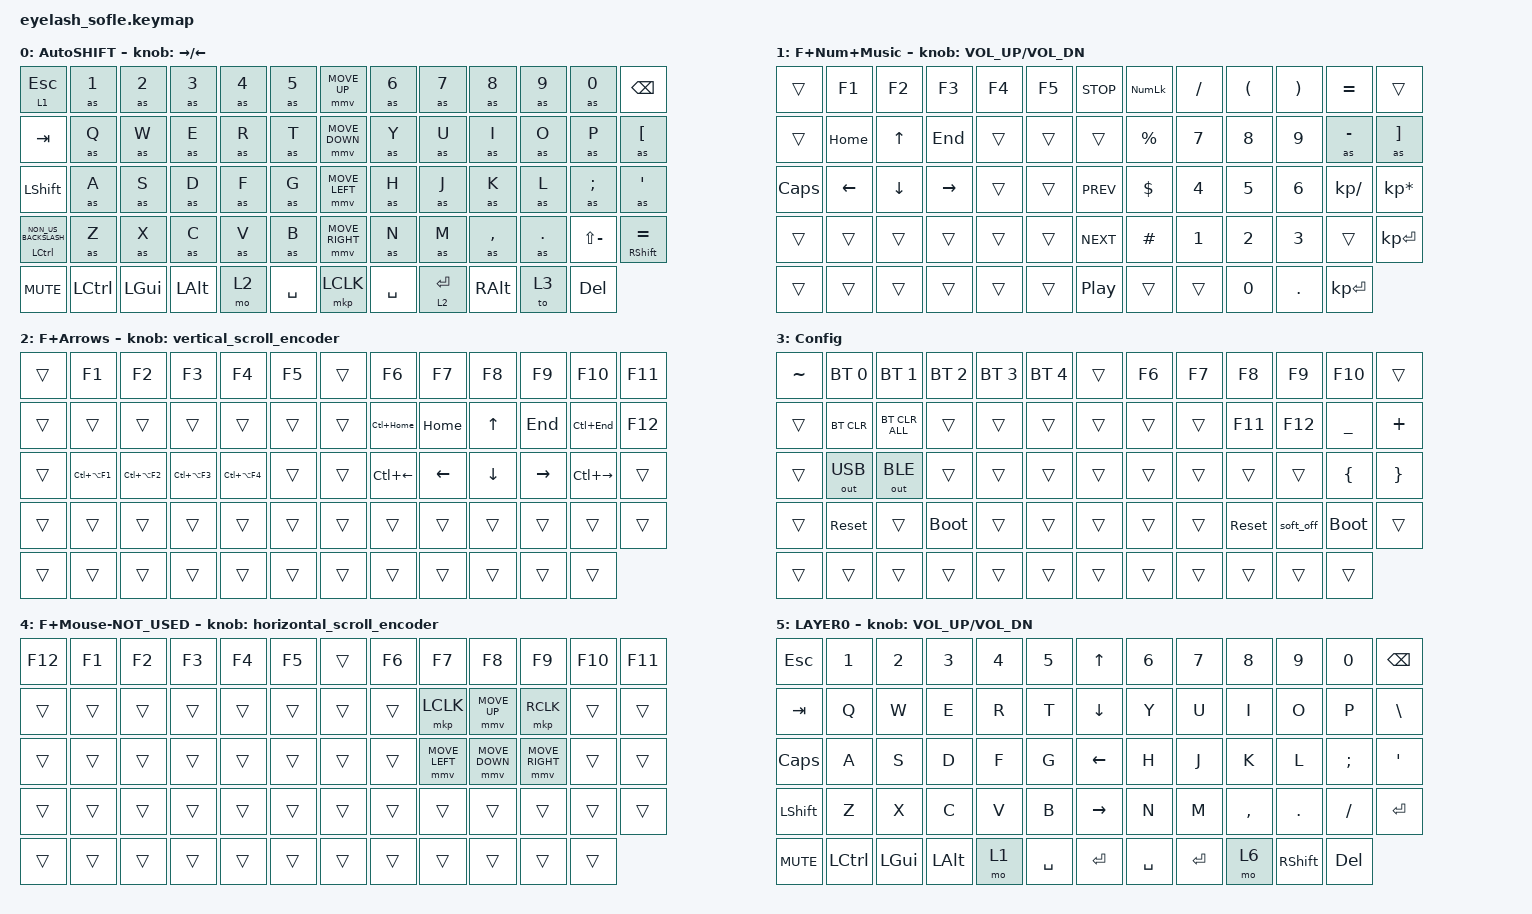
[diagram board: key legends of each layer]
#define ZMK_POINTING_DEFAULT_MOVE_VAL 1200  // 600
#define ZMK_POINTING_DEFAULT_SCRL_VAL 25   // 10

#include <input/processors.dtsi>
#include <zephyr/dt-bindings/input/input-event-codes.h>
#include <behaviors.dtsi>
#include <dt-bindings/zmk/bt.h>
#include <dt-bindings/zmk/keys.h>
#include <dt-bindings/zmk/outputs.h>
#include <dt-bindings/zmk/pointing.h>

&mmv_input_listener { input-processors = <&zip_xy_scaler 2 1>; };

&msc_input_listener { input-processors = <&zip_scroll_scaler 2 1>; };

&msc {
    acceleration-exponent = <1>;      // 0
    time-to-max-speed-ms = <100>;       // 300
    delay-ms = <0>;                   // 0
};

&mmv {
    time-to-max-speed-ms = <500>;
    acceleration-exponent = <1>;
    trigger-period-ms = <16>;
};

/ {
    as_ht: autoshift_hold_tap {
        compatible = "zmk,behavior-hold-tap";
        label = "AUTOSHIFT_HOLD_TAP";
        bindings = <&shift>, <&kp>;

        #binding-cells = <2>;
        tapping-term-ms = <190>;
    };

    horizontal_scroll_encoder: horizontal_scroll_encoder {
        compatible = "zmk,behavior-sensor-rotate";
        #sensor-binding-cells = <0>;
        bindings = <&msc SCRL_LEFT>, <&msc SCRL_LEFT>;

        tap-ms = <100>;
    };

    vertical_scroll_encoder: vertical_scroll_encoder {
        compatible = "zmk,behavior-sensor-rotate";
        #sensor-binding-cells = <0>;
        bindings = <&msc SCRL_UP>, <&msc SCRL_DOWN>;

        tap-ms = <100>;
    };

    macros {
        shift: shift {
            compatible = "zmk,behavior-macro-one-param";
            #binding-cells = <1>;
            bindings =
                <&macro_press>,
                <&kp LEFT_SHIFT>,
                <&macro_tap>,
                <&macro_param_1to1 &kp MACRO_PLACEHOLDER>,
                <&macro_release>,
                <&kp LEFT_SHIFT>;

            label = "SHIFT";
        };

        as: as {
            compatible = "zmk,behavior-macro-one-param";
            #binding-cells = <1>;
            bindings =
                <&macro_press>,
                <&macro_param_1to1 &macro_param_1to2 &as_ht MACRO_PLACEHOLDER MACRO_PLACEHOLDER>,
                <&macro_pause_for_release>,
                <&macro_release>,
                <&macro_param_1to1 &macro_param_1to2 &as_ht MACRO_PLACEHOLDER MACRO_PLACEHOLDER>;

            label = "AS";
        };
    };

    behaviors {
    };

    keymap {
        compatible = "zmk,keymap";

        BASE {
            display-name = "AutoSHIFT";
            bindings = <
&lt 1 ESC                   &as N1     &as N2        &as N3        &as N4  &as N5       &mmv MOVE_UP     &as N6     &as N7       &as N8         &as N9   &as N0         &kp BACKSPACE
&kp TAB                     &as Q      &as W         &as E         &as R   &as T        &mmv MOVE_DOWN   &as Y      &as U        &as I          &as O    &as P          &as LBKT
&kp LSHFT                   &as A      &as S         &as D         &as F   &as G        &mmv MOVE_LEFT   &as H      &as J        &as K          &as L    &as SEMI       &as APOS
&mt LCTRL NON_US_BACKSLASH  &as Z      &as X         &as C         &as V   &as B        &mmv MOVE_RIGHT  &as N      &as M        &as COMMA      &as DOT  &kp LS(MINUS)  &mt RSHFT EQUAL
&kp C_MUTE                  &kp LCTRL  &kp LEFT_GUI  &kp LEFT_ALT  &mo 2   &kp SPACE    &mkp LCLK        &kp SPACE  &lt 2 ENTER  &kp RIGHT_ALT  &to 3    &kp DELETE
            >;

            sensor-bindings = <&inc_dec_kp RIGHT LEFT>;
        };

        F+Num+Music {
            bindings = <
&trans    &kp F1    &kp F2    &kp F3     &kp F4  &kp F5    &kp C_STOP        &kp KP_NUMLOCK  &kp FSLH  &kp LPAR  &kp RPAR  &kp EQUAL     &trans
&trans    &kp HOME  &kp UP    &kp END    &trans  &trans    &trans            &kp PRCNT       &kp N7    &kp N8    &kp N9    &as MINUS     &as RIGHT_BRACKET
&kp CAPS  &kp LEFT  &kp DOWN  &kp RIGHT  &trans  &trans    &kp C_PREV        &kp DLLR        &kp N4    &kp N5    &kp N6    &kp KP_SLASH  &kp KP_MULTIPLY
&trans    &trans    &trans    &trans     &trans  &trans    &kp C_NEXT        &kp HASH        &kp N1    &kp N2    &kp N3    &trans        &kp KP_ENTER
&trans    &trans    &trans    &trans     &trans  &trans    &kp C_PLAY_PAUSE  &trans          &trans    &kp N0    &kp DOT   &kp KP_ENTER
            >;

            display-name = "F+Num+Music";
            sensor-bindings = <&inc_dec_kp C_VOL_UP C_VOL_DN>;
        };

        F+Arrows {
            bindings = <
&trans  &kp F1          &kp F2          &kp F3          &kp F4          &kp F5    &trans  &kp F6              &kp F7    &kp F8    &kp F9     &kp F10        &kp F11
&trans  &trans          &trans          &trans          &trans          &trans    &trans  &kp LC(HOME)        &kp HOME  &kp UP    &kp END    &kp LC(END)    &kp F12
&trans  &kp LC(LA(F1))  &kp LC(LA(F2))  &kp LC(LA(F3))  &kp LC(LA(F4))  &trans    &trans  &kp LC(LEFT_ARROW)  &kp LEFT  &kp DOWN  &kp RIGHT  &kp LC(RIGHT)  &trans
&trans  &trans          &trans          &trans          &trans          &trans    &trans  &trans              &trans    &trans    &trans     &trans         &trans
&trans  &trans          &trans          &trans          &trans          &trans    &trans  &trans              &trans    &trans    &trans     &trans
            >;

            sensor-bindings = <&vertical_scroll_encoder>;
        };

        Config {
            bindings = <
&kp TILDE  &bt BT_SEL 0  &bt BT_SEL 1    &bt BT_SEL 2  &bt BT_SEL 3  &bt BT_SEL 4    &trans  &kp F6  &kp F7  &kp F8      &kp F9     &kp F10      &trans
&trans     &bt BT_CLR    &bt BT_CLR_ALL  &trans        &trans        &trans          &trans  &trans  &trans  &kp F11     &kp F12    &kp UNDER    &kp PLUS
&trans     &out OUT_USB  &out OUT_BLE    &trans        &trans        &trans          &trans  &trans  &trans  &trans      &trans     &kp LBRC     &kp RBRC
&trans     &sys_reset    &trans          &bootloader   &trans        &trans          &trans  &trans  &trans  &sys_reset  &soft_off  &bootloader  &trans
&trans     &trans        &trans          &trans        &trans        &trans          &trans  &trans  &trans  &trans      &trans     &trans
            >;
        };

        F+Mouse-NOT_USED {
            bindings = <
&kp F12  &kp F1  &kp F2  &kp F3  &kp F4  &kp F5    &trans  &kp F6  &kp F7          &kp F8          &kp F9           &kp F10  &kp F11
&trans   &trans  &trans  &trans  &trans  &trans    &trans  &trans  &mkp LCLK       &mmv MOVE_UP    &mkp RCLK        &trans   &trans
&trans   &trans  &trans  &trans  &trans  &trans    &trans  &trans  &mmv MOVE_LEFT  &mmv MOVE_DOWN  &mmv MOVE_RIGHT  &trans   &trans
&trans   &trans  &trans  &trans  &trans  &trans    &trans  &trans  &trans          &trans          &trans           &trans   &trans
&trans   &trans  &trans  &trans  &trans  &trans    &trans  &trans  &trans          &trans          &trans           &trans
            >;

            sensor-bindings = <&horizontal_scroll_encoder>;
        };

        layer0-NOT_USED {
            bindings = <
&kp ESC     &kp N1     &kp N2        &kp N3        &kp N4  &kp N5       &kp UP_ARROW     &kp N6     &kp N7     &kp N8     &kp N9           &kp N0      &kp BACKSPACE
&kp TAB     &kp Q      &kp W         &kp E         &kp R   &kp T        &kp DOWN_ARROW   &kp Y      &kp U      &kp I      &kp O            &kp P       &kp BSLH
&kp CAPS    &kp A      &kp S         &kp D         &kp F   &kp G        &kp LEFT_ARROW   &kp H      &kp J      &kp K      &kp L            &kp SEMI    &kp APOS
&kp LSHFT   &kp Z      &kp X         &kp C         &kp V   &kp B        &kp RIGHT_ARROW  &kp N      &kp M      &kp COMMA  &kp DOT          &kp FSLH    &kp ENTER
&kp C_MUTE  &kp LCTRL  &kp LEFT_GUI  &kp LEFT_ALT  &mo 1   &kp SPACE    &kp ENTER        &kp SPACE  &kp ENTER  &mo 6      &kp RIGHT_SHIFT  &kp DELETE
            >;

            sensor-bindings = <&inc_dec_kp C_VOLUME_UP C_VOL_DN>;
            display-name = "LAYER0";
        };
    };
};
